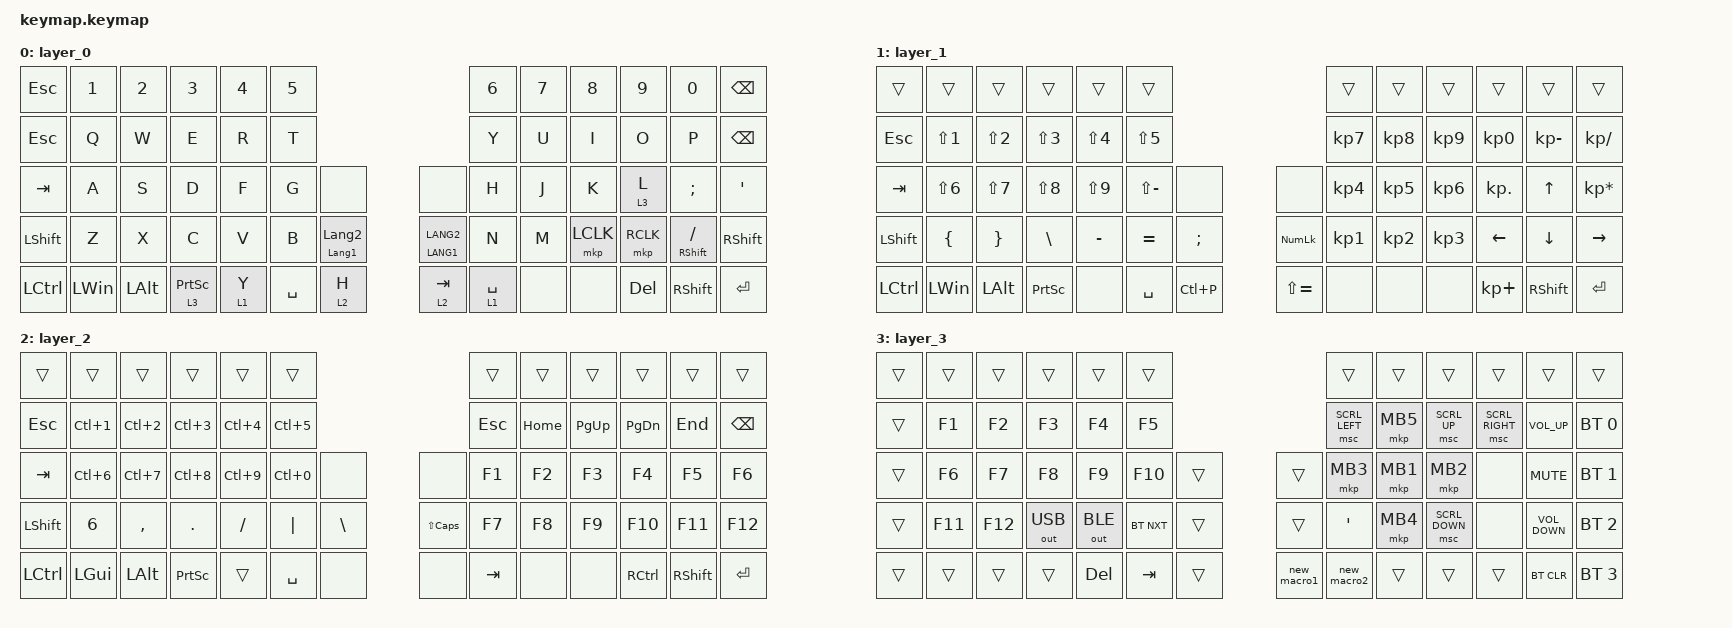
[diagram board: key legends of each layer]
#include <behaviors.dtsi>
#include <dt-bindings/zmk/bt.h>
#include <dt-bindings/zmk/keys.h>
#include <dt-bindings/zmk/outputs.h>
#include <dt-bindings/zmk/pointing.h>

/ {
    combos {
        compatible = "zmk,combos";

        bt_clear {
            bindings = <&bt BT_CLR>;
            key-positions = <28 29>;
            layers = <2>;
        };
    };

    macros {
        new_macro1: new_macro1 {
            compatible = "zmk,behavior-macro";
            #binding-cells = <0>;
            bindings = <&kp L &kp N0 &kp NUMBER_1 &kp NUMBER_2>;
            label = "NEW_MACRO1";
        };

        new_macro2: new_macro2 {
            compatible = "zmk,behavior-macro";
            #binding-cells = <0>;
            bindings = <&kp LEFT_BRACE &kp N0 &kp N0 &kp NUMBER_4>;
            label = "NEW_MACRO2";
        };
    };

    keymap {
        compatible = "zmk,keymap";

        layer_0 {
            bindings = <
&kp ESC    &kp N1        &kp N2        &kp N3             &kp N4   &kp N5                                                 &kp N6       &kp N7  &kp N8     &kp N9     &kp N0                &kp BSPC
&kp ESC    &kp Q         &kp W         &kp E              &kp R    &kp T                                                  &kp Y        &kp U   &kp I      &kp O      &kp P                 &kp BSPC
&kp TAB    &kp A         &kp S         &kp D              &kp F    &kp G      &none                      &none            &kp H        &kp J   &kp K      &lt 3 L    &kp SEMI              &kp SQT
&kp LSHFT  &kp Z         &kp X         &kp C              &kp V    &kp B      &mt LANGUAGE_1 LANGUAGE_2  &mt LANG1 LANG2  &kp N        &kp M   &mkp LCLK  &mkp RCLK  &mt RIGHT_SHIFT FSLH  &kp RSHFT
&kp LCTRL  &kp LEFT_WIN  &kp LEFT_ALT  &lt 3 PRINTSCREEN  &lt 1 Y  &kp SPACE  &lt 2 H                    &lt 2 TAB        &lt 1 SPACE  &none   &none      &kp DEL    &kp RIGHT_SHIFT       &kp ENTER
            >;
        };

        layer_1 {
            bindings = <
&trans            &trans            &trans            &trans            &trans            &trans                                          &trans           &trans           &trans           &trans           &trans           &trans
&kp ESC           &kp LS(NUMBER_1)  &kp LS(NUMBER_2)  &kp LS(NUMBER_3)  &kp LS(NUMBER_4)  &kp LS(NUMBER_5)                                &kp KP_NUMBER_7  &kp KP_NUMBER_8  &kp KP_NUMBER_9  &kp KP_NUMBER_0  &kp KP_MINUS     &kp KP_DIVIDE
&kp TAB           &kp LS(NUMBER_6)  &kp LS(NUMBER_7)  &kp LS(NUMBER_8)  &kp LS(NUMBER_9)  &kp LS(MINUS)     &none          &none          &kp KP_NUMBER_4  &kp KP_NUMBER_5  &kp KP_NUMBER_6  &kp KP_DOT       &kp UP           &kp KP_ASTERISK
&kp LEFT_SHIFT    &kp LEFT_BRACE    &kp RIGHT_BRACE   &kp BACKSLASH     &kp MINUS         &kp EQUAL         &kp SEMICOLON  &kp KP_NUM     &kp KP_NUMBER_1  &kp KP_NUMBER_2  &kp KP_NUMBER_3  &kp LEFT         &kp DOWN         &kp RIGHT
&kp LEFT_CONTROL  &kp LEFT_WIN      &kp LEFT_ALT      &kp PRINTSCREEN   &none             &kp SPACE         &kp LC(P)      &kp LS(EQUAL)  &none            &none            &none            &kp KP_PLUS      &kp RIGHT_SHIFT  &kp ENTER
            >;
        };

        layer_2 {
            bindings = <
&trans            &trans            &trans            &trans            &trans            &trans                                             &trans   &trans    &trans       &trans             &trans           &trans
&kp ESC           &kp LC(NUMBER_1)  &kp LC(NUMBER_2)  &kp LC(N3)        &kp LC(N4)        &kp LC(N5)                                         &kp ESC  &kp HOME  &kp PAGE_UP  &kp PAGE_DOWN      &kp END          &kp BACKSPACE
&kp TAB           &kp LC(NUMBER_6)  &kp LC(NUMBER_7)  &kp LC(NUMBER_8)  &kp LC(NUMBER_9)  &kp LC(NUMBER_0)  &none          &none             &kp F1   &kp F2    &kp F3       &kp F4             &kp F5           &kp F6
&kp LEFT_SHIFT    &kp N6            &kp COMMA         &kp PERIOD        &kp SLASH         &kp PIPE          &kp BACKSLASH  &kp LS(CAPSLOCK)  &kp F7   &kp F8    &kp F9       &kp F10            &kp F11          &kp F12
&kp LEFT_CONTROL  &kp LEFT_GUI      &kp LEFT_ALT      &kp PRINTSCREEN   &trans            &kp SPACE         &none          &none             &kp TAB  &none     &none        &kp RIGHT_CONTROL  &kp RIGHT_SHIFT  &kp ENTER
            >;
        };

        layer_3 {
            bindings = <
&trans  &trans   &trans   &trans        &trans        &trans                           &trans            &trans    &trans          &trans           &trans             &trans
&trans  &kp F1   &kp F2   &kp F3        &kp F4        &kp F5                           &msc SCRL_LEFT    &mkp MB5  &msc SCRL_UP    &msc SCRL_RIGHT  &kp C_VOLUME_UP    &bt BT_SEL 0
&trans  &kp F6   &kp F7   &kp F8        &kp F9        &kp F10     &trans  &trans       &mkp MB3          &mkp MB1  &mkp MB2        &none            &kp K_MUTE         &bt BT_SEL 1
&trans  &kp F11  &kp F12  &out OUT_USB  &out OUT_BLE  &bt BT_NXT  &trans  &trans       &kp SINGLE_QUOTE  &mkp MB4  &msc SCRL_DOWN  &none            &kp C_VOLUME_DOWN  &bt BT_SEL 2
&trans  &trans   &trans   &trans        &kp DELETE    &kp TAB     &trans  &new_macro1  &new_macro2       &trans    &trans          &trans           &bt BT_CLR         &bt BT_SEL 3
            >;
        };
    };
};
